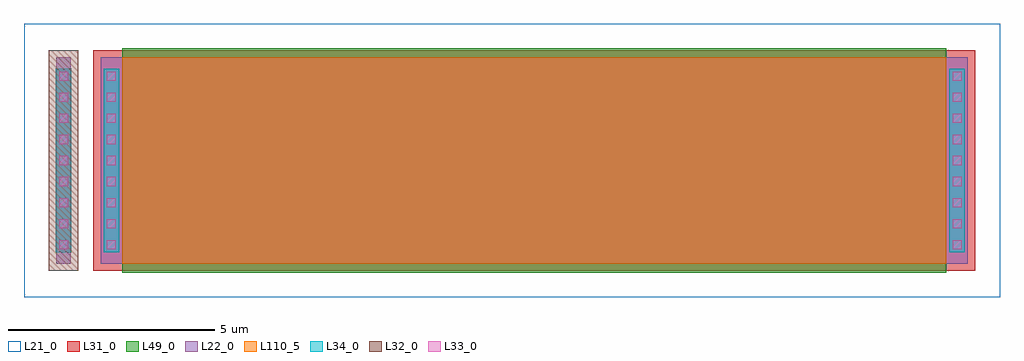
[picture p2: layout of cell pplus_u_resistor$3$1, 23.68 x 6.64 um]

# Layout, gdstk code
import gdstk
lib = gdstk.Library(unit=1e-6, precision=1e-09)
def R(c, l, rs):  # rectangles x0, y0, x1, y1
    for r in rs: c.add(gdstk.rectangle(r[:2], r[2:], *l))
def A(c, l, x, y, w, h, nx, ny, dx, dy):  # array of equal rectangles
    R(c, l, [(x+i*dx, y+j*dy, x+i*dx+w, y+j*dy+h) for i in range(nx) for j in range(ny)])
L21_0 = (21, 0)
L22_0 = (22, 0)
L31_0 = (31, 0)
L32_0 = (32, 0)
L33_0 = (33, 0)
L34_0 = (34, 0)
L49_0 = (49, 0)
L110_5 = (110, 5)

pplus_u_resistor_3_1 = lib.new_cell('pplus_u_resistor$3$1')
R(pplus_u_resistor_3_1, L21_0, [(-2.38,-0.82,21.3,5.82)])
R(pplus_u_resistor_3_1, L22_0, [(-1.6,0,-1.24,5), (-0.52,0,20.52,5)])
R(pplus_u_resistor_3_1, L31_0, [(-0.7,-0.18,20.7,5.18)])
R(pplus_u_resistor_3_1, L32_0, [(-1.78,-0.18,-1.06,5.18)])
A(pplus_u_resistor_3_1, L33_0, -1.53, 0.35, 0.22, 0.22, 1, 9, 0, 0.51)
A(pplus_u_resistor_3_1, L33_0, -0.37, 0.35, 0.22, 0.22, 1, 9, 0, 0.51)
A(pplus_u_resistor_3_1, L33_0, 20.15, 0.35, 0.22, 0.22, 1, 9, 0, 0.51)
R(pplus_u_resistor_3_1, L34_0, [(-1.61,0.27,-1.23,4.73), (-0.45,0.27,-0.07,4.73), (20.07,0.27,20.45,4.73)])
R(pplus_u_resistor_3_1, L49_0, [(0,-0.22,20,5.22)])
R(pplus_u_resistor_3_1, L110_5, [(0,0,20,5)])

lib.write_gds('pplus_u_resistor_3_1.gds')
